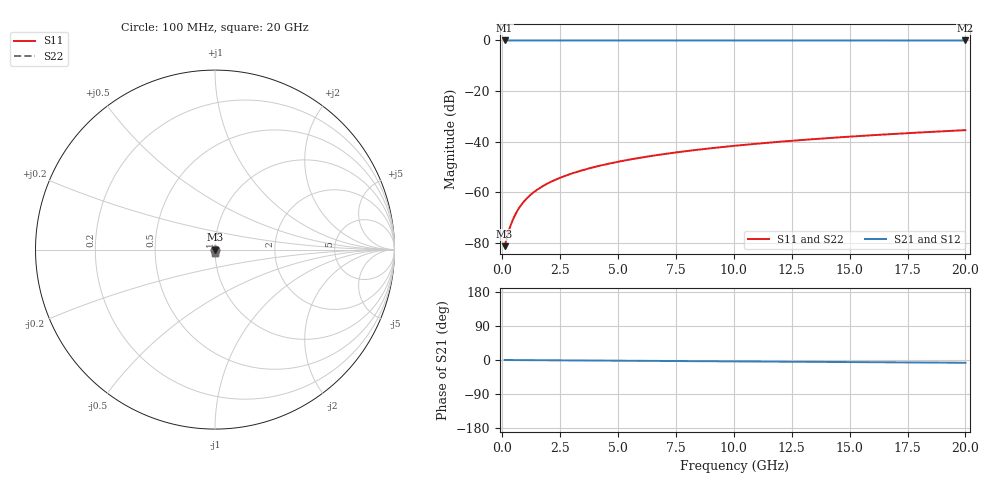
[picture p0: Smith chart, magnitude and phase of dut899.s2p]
! Touchstone file exported from HFSS 2026.1.0
!  File:  C:/ffzhzh/LocalFiles/Ansys_Project_Files/temp_train_TSV_899_1783186102_43440.aedt
!  Generated:  01:29:47 AM Jul  5, 2026
!  Design:  TSV
!  Project:  temp_train_TSV_899_1783186102_43440
! Variables:
!  h_bsmrdl = 2um
!  h_ox = 20um
!  h_rdl = 5um
!  h_sub = 71.07um
!  h_tmrdl = 5um
!  h_tsv = 71.07um
!  h_via = 3um
!  l_bsmrdl = 300um
!  l_sub = 428.38um
!  l_tmrdl = 200um
!  m_sub = 200um
!  pitch = 49.66um
!  r_tsv = 14.19um
!  s_tmrdl = 10um
!  w_bsmrdl = 18um
!  w_sub = 500um
!  w_tmrdl = 12um
!  x_tsv_center1 = 206um
!  x_tsv_center2 = 524um
!  x_tsv_center3 = 736um
!  x_tsv_center4 = 1054um
!  x_tsv_center5 = 1266um
!  x_tsv_center6 = 1584um
# GHz S MA R 50.000000
! Terminal data exported
! Port[1] = TSV1_1_T1
! Port[2] = TSV1_1_T2
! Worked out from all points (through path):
!   200 points, 100 MHz to 20 GHz, reference 50 ohm
!   highest |S21| = 0.00 dB at 100 MHz (marker M1); lowest = 0.0 dB at 20 GHz (marker M2)
!   group delay of S21, straight-line fit = 1.01 ps
!   lowest |S11| = -81.4 dB at 100 MHz (marker M3), VSWR 1.00, Z = 50 - j0.00465 ohm
!   |S11| at or under -10 dB: start of sweep to end of sweep
!   |S22| runs from -81.4 to -35.5 dB; largest |S21 - S12| = 4.4e-15
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0.1  8.545e-05 -32.9  0.9999 -0.0  0.9999 -0.0  8.545e-05 -32.9
! Gamma 0 0 0 0
! Port Impedance 50 0 50 0
0.2  0.0001278 -48.9  0.9999 -0.1  0.9999 -0.1  0.0001278 -48.9
0.3  0.0001827 -56.2  0.9999 -0.1  0.9999 -0.1  0.0001827 -56.2
0.4  0.0002462 -60.2  0.9999 -0.2  0.9999 -0.2  0.0002462 -60.2
0.5  0.0003158 -63.0  0.9999 -0.2  0.9999 -0.2  0.0003158 -63.0
0.6  0.0003897 -65.3  0.9998 -0.2  0.9998 -0.2  0.0003897 -65.3
0.7  0.0004666 -67.2  0.9998 -0.3  0.9998 -0.3  0.0004666 -67.2
0.9  0.0006254 -70.3  0.9998 -0.3  0.9998 -0.3  0.0006254 -70.3
1.2  0.0008685 -73.8  0.9997 -0.4  0.9997 -0.4  0.0008685 -73.8
1.4  0.001031 -75.5  0.9997 -0.5  0.9997 -0.5  0.001031 -75.5
1.6  0.001194 -76.9  0.9997 -0.6  0.9997 -0.6  0.001194 -76.9
2.1  0.001601 -79.5  0.9997 -0.8  0.9997 -0.8  0.001601 -79.5
2.7  0.002089 -81.4  0.9996 -1.0  0.9996 -1.0  0.002089 -81.4
3.5  0.002745 -83.1  0.9996 -1.3  0.9996 -1.3  0.002745 -83.1
4.2  0.003323 -84.2  0.9996 -1.5  0.9996 -1.5  0.003323 -84.2
5  0.00399 -85.1  0.9995 -1.8  0.9995 -1.8  0.00399 -85.1
6.8  0.005505 -86.8  0.9994 -2.5  0.9994 -2.5  0.005505 -86.8
8.3  0.00678 -87.9  0.9994 -3.0  0.9994 -3.0  0.00678 -87.9
10.1  0.008316 -89.1  0.9993 -3.7  0.9993 -3.7  0.008316 -89.1
13.4  0.01114 -91.0  0.9992 -4.9  0.9992 -4.9  0.01114 -91.0
16.7  0.01399 -92.6  0.999 -6.1  0.999 -6.1  0.01399 -92.6
20  0.01684 -94.1  0.9989 -7.3  0.9989 -7.3  0.01684 -94.1
